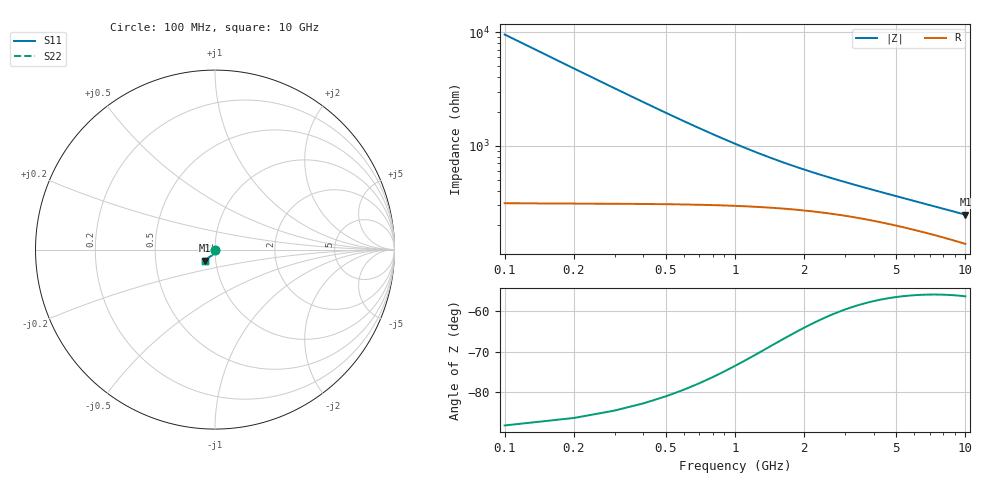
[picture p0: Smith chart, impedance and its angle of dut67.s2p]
! Touchstone file exported from HFSS 2024.1.0
!  File:  C:/UserFiles/LocalFiles/RDL_TSV_Batchsim/temp_TSV1_67_1778749789.aedt
!  Generated:  05:14:55 PM May 14, 2026
!  Design:  TSV1
!  Project:  temp_TSV1_67_1778749789
!  Setup:  Setup1
!  Solution:  Sweep
! Variables:
!  dtsv = 24.82um
!  hbump = 3um
!  htsv = 55.06um
!  lrdl = 252.1521522um
!  p = 40
!  p1 = 53.62um
!  t = 500um
!  trdl = 3um
!  wrdl = 24.89489489um
# GHz S MA R 50.000000
! Terminal data exported
! Port[1] = TSV22_T1
! Port[2] = TSV22_T2
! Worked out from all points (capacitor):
!   100 points, 100 MHz to 10 GHz, reference 50 ohm
!   read as one part in shunt: C = 166 fF near 100 MHz
!   lowest |Z| = 248 ohm at 10 GHz (marker M1)
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0.1  0.00242 -90.5  0.9998 -0.2  0.9998 -0.2  0.00242 -90.5
! Gamma 0 0 0 0
! Port Impedance 50 0 50 0
0.2  0.004824 -93.2  0.9996 -0.3  0.9996 -0.3  0.004824 -93.2
0.3  0.007201 -95.5  0.9991 -0.5  0.9991 -0.5  0.007201 -95.5
0.4  0.009538 -97.6  0.9985 -0.6  0.9985 -0.6  0.009538 -97.6
0.5  0.01182 -99.5  0.9977 -0.8  0.9977 -0.8  0.01182 -99.5
0.6  0.01404 -101.4  0.9969 -0.9  0.9969 -0.9  0.01404 -101.4
0.7  0.0162 -103.2  0.9959 -1.0  0.9959 -1.0  0.0162 -103.2
0.8  0.01827 -104.9  0.9949 -1.2  0.9949 -1.2  0.01827 -104.9
0.9  0.02027 -106.5  0.9938 -1.3  0.9938 -1.3  0.02027 -106.5
1.1  0.02401 -109.6  0.9915 -1.5  0.9915 -1.5  0.02401 -109.6
1.4  0.02901 -113.5  0.9881 -1.8  0.9881 -1.8  0.02901 -113.5
1.6  0.03197 -115.7  0.9858 -1.9  0.9858 -1.9  0.03197 -115.7
1.8  0.03467 -117.6  0.9837 -2.1  0.9837 -2.1  0.03467 -117.6
2.1  0.03829 -120.0  0.9807 -2.3  0.9807 -2.3  0.03829 -120.0
2.5  0.0425 -122.6  0.9771 -2.5  0.9771 -2.5  0.0425 -122.6
2.9  0.04619 -124.5  0.9739 -2.7  0.9739 -2.7  0.04619 -124.5
3.4  0.05028 -126.3  0.9703 -2.9  0.9703 -2.9  0.05028 -126.3
4.2  0.05602 -128.3  0.9655 -3.3  0.9655 -3.3  0.05602 -128.3
5.1  0.06169 -129.8  0.961 -3.6  0.961 -3.6  0.06169 -129.8
6.7  0.07042 -131.3  0.9543 -4.2  0.9543 -4.2  0.07042 -131.3
8.4  0.0784 -132.3  0.9486 -4.8  0.9486 -4.8  0.0784 -132.3
10  0.08511 -132.7  0.944 -5.3  0.944 -5.3  0.08511 -132.7
